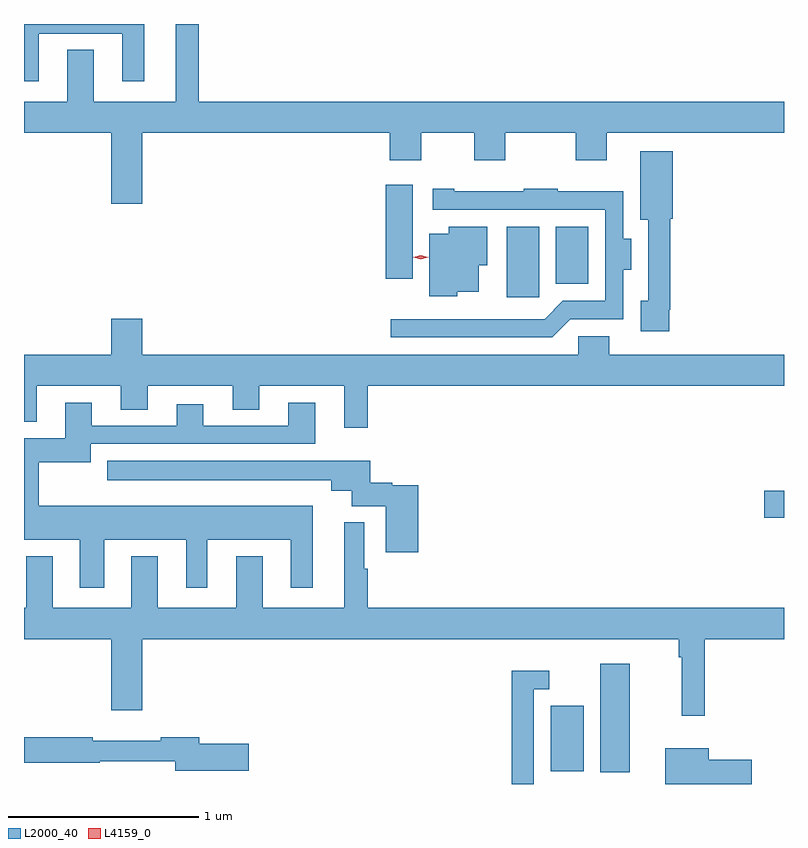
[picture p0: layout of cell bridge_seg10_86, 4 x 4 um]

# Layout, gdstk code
import gdstk
lib = gdstk.Library(unit=1e-6, precision=1e-09)
def R(c, l, rs):  # rectangles x0, y0, x1, y1
    for r in rs: c.add(gdstk.rectangle(r[:2], r[2:], *l))
def P(c, l, *ps):  # polygons
    for p in ps: c.add(gdstk.Polygon(p, *l))
L2000_40 = (2000, 40)
L4159_0 = (4159, 0)

bridge_seg10_86 = lib.new_cell('bridge_seg10_86')
R(bridge_seg10_86, L2000_40, [(659.09,1304.944,659.245,1305.514), (658.829,1304.948,659.002,1305.292), (659.952,1306.282,660.057,1306.424), (658.598,1307.442,658.768,1307.815), (658.856,1307.513,659.026,1307.815), (657.962,1307.541,658.102,1308.034)])
P(bridge_seg10_86, L2000_40, [(656.134,1308.83),(656.573,1308.83),(656.573,1308.579),(656.689,1308.579),(656.689,1308.881),(656.057,1308.881),(656.057,1308.579),(656.134,1308.579)],
  [(656.68,1308.308),(657.983,1308.308),(657.983,1308.165),(658.147,1308.165),(658.147,1308.308),(658.427,1308.308),(658.427,1308.165),(658.591,1308.165),(658.591,1308.308),(658.961,1308.308),(658.961,1308.165),(659.125,1308.165),(659.125,1308.308),(660.057,1308.308),(660.057,1308.472),(656.977,1308.472),(656.977,1308.881),(656.855,1308.881),(656.855,1308.472),(656.425,1308.472),(656.425,1308.745),(656.285,1308.745),(656.285,1308.472),(656.057,1308.472),(656.057,1308.308),(656.516,1308.308),(656.516,1307.934),(656.68,1307.934)],
  [(659.452,1307.377),(659.459,1307.377),(659.459,1307.856),(659.471,1307.856),(659.471,1308.211),(659.3,1308.211),(659.3,1307.852),(659.343,1307.852),(659.343,1307.425),(659.303,1307.425),(659.303,1307.265),(659.452,1307.265)],
  [(658.932,1307.328),(659.212,1307.328),(659.212,1307.588),(659.254,1307.588),(659.254,1307.752),(659.211,1307.752),(659.211,1308.001),(658.865,1308.001),(658.865,1308.013),(658.687,1308.013),(658.687,1308.001),(658.321,1308.001),(658.321,1308.013),(658.209,1308.013),(658.209,1307.904),(659.115,1307.904),(659.115,1307.424),(658.893,1307.424),(658.797,1307.328),(657.987,1307.328),(657.987,1307.232),(658.836,1307.232)],
  [(658.338,1307.471),(658.45,1307.471),(658.45,1307.612),(658.495,1307.612),(658.495,1307.815),(658.292,1307.815),(658.292,1307.776),(658.19,1307.776),(658.19,1307.447),(658.338,1307.447)],
  [(657.865,1306.976),(660.057,1306.976),(660.057,1307.14),(659.138,1307.14),(659.138,1307.238),(658.974,1307.238),(658.974,1307.14),(656.68,1307.14),(656.68,1307.329),(656.516,1307.329),(656.516,1307.14),(656.057,1307.14),(656.057,1306.787),(656.125,1306.787),(656.125,1306.976),(656.567,1306.976),(656.567,1306.852),(656.707,1306.852),(656.707,1306.976),(657.155,1306.976),(657.155,1306.852),(657.295,1306.852),(657.295,1306.976),(657.743,1306.976),(657.743,1306.755),(657.865,1306.755)],
  [(656.479,1306.166),(656.912,1306.166),(656.912,1305.915),(657.022,1305.915),(657.022,1306.166),(657.461,1306.166),(657.461,1305.915),(657.577,1305.915),(657.577,1306.345),(656.135,1306.345),(656.135,1306.574),(656.407,1306.574),(656.407,1306.671),(657.589,1306.671),(657.589,1306.888),(657.449,1306.888),(657.449,1306.767),(657.001,1306.767),(657.001,1306.879),(656.861,1306.879),(656.861,1306.767),(656.413,1306.767),(656.413,1306.888),(656.273,1306.888),(656.273,1306.702),(656.057,1306.702),(656.057,1306.166),(656.351,1306.166),(656.351,1305.915),(656.479,1305.915)],
  [(658.133,1306.453),(657.996,1306.453),(657.996,1306.466),(657.879,1306.466),(657.879,1306.582),(656.496,1306.582),(656.496,1306.481),(657.674,1306.481),(657.674,1306.424),(657.783,1306.424),(657.783,1306.343),(657.962,1306.343),(657.962,1306.101),(658.133,1306.101)],
  [(657.173,1306.081),(657.173,1305.808),(656.761,1305.808),(656.761,1306.081),(656.621,1306.081),(656.621,1305.808),(656.209,1305.808),(656.209,1306.081),(656.069,1306.081),(656.069,1305.808),(656.057,1305.808),(656.057,1305.644),(656.516,1305.644),(656.516,1305.27),(656.68,1305.27),(656.68,1305.644),(659.503,1305.644),(659.503,1305.548),(659.518,1305.548),(659.518,1305.24),(659.639,1305.24),(659.639,1305.644),(660.057,1305.644),(660.057,1305.808),(657.865,1305.808),(657.865,1306.013),(657.847,1306.013),(657.847,1306.258),(657.743,1306.258),(657.743,1305.808),(657.313,1305.808),(657.313,1306.081)],
  [(658.74,1305.381),(658.822,1305.381),(658.822,1305.478),(658.624,1305.478),(658.624,1304.881),(658.74,1304.881)],
  [(657.241,1305.092),(656.98,1305.092),(656.98,1305.128),(656.776,1305.128),(656.776,1305.109),(656.42,1305.109),(656.42,1305.128),(656.057,1305.128),(656.057,1304.992),(656.456,1304.992),(656.456,1305),(656.852,1305),(656.852,1304.95),(657.241,1304.95)],
  [(659.887,1305.008),(659.662,1305.008),(659.662,1305.07),(659.432,1305.07),(659.432,1304.881),(659.887,1304.881)])
P(bridge_seg10_86, L4159_0, [(658.145,1307.643),(658.106,1307.653),(658.105,1307.653),(658.106,1307.653),(658.145,1307.663),(658.184,1307.653),(658.184,1307.653),(658.184,1307.653)])

lib.write_gds('bridge_seg10_86.gds')
